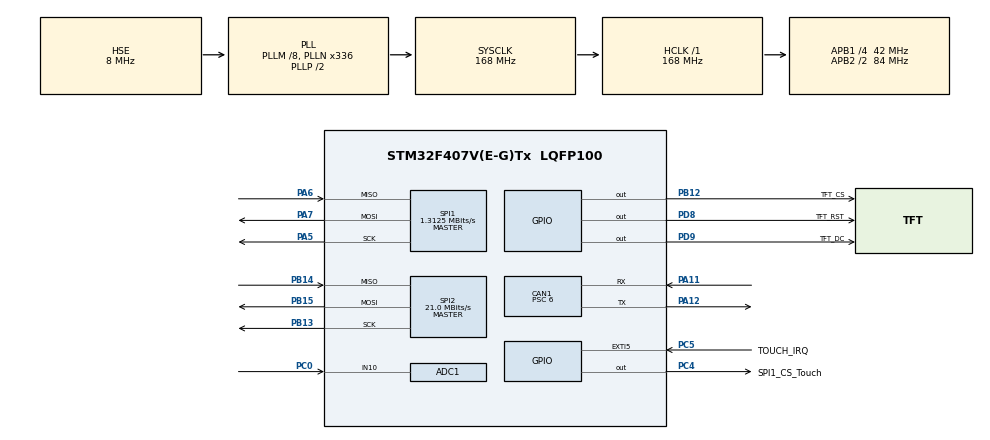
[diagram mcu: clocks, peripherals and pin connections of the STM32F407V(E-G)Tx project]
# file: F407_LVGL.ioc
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ADC1.Channel-0\#ChannelRegularConversion=ADC_CHANNEL_10
ADC1.NbrOfConversionFlag=1
ADC1.Rank-0\#ChannelRegularConversion=1
ADC1.SamplingTime-0\#ChannelRegularConversion=ADC_SAMPLETIME_84CYCLES
ADC1.master=1
CAN1.BS1=CAN_BS1_11TQ
CAN1.BS2=CAN_BS2_2TQ
CAN1.CalculateBaudRate=500000
CAN1.CalculateTimeBit=2000
CAN1.CalculateTimeQuantum=142.85714285714286
CAN1.Prescaler=6
Dma.Request0=SPI2_TX
Dma.SPI2_TX.0.Direction=DMA_MEMORY_TO_PERIPH
Dma.SPI2_TX.0.FIFOMode=DMA_FIFOMODE_DISABLE
Dma.SPI2_TX.0.Instance=DMA1_Stream4
Dma.SPI2_TX.0.MemDataAlignment=DMA_MDATAALIGN_HALFWORD
Dma.SPI2_TX.0.MemInc=DMA_MINC_ENABLE
Dma.SPI2_TX.0.Mode=DMA_NORMAL
Dma.SPI2_TX.0.PeriphDataAlignment=DMA_PDATAALIGN_HALFWORD
Dma.SPI2_TX.0.PeriphInc=DMA_PINC_DISABLE
Dma.SPI2_TX.0.Priority=DMA_PRIORITY_LOW
Mcu.Family=STM32F4
Mcu.Name=STM32F407V(E-G)Tx
Mcu.Package=LQFP100
NVIC.CAN1_RX0_IRQn=true\:0\:0\:false\:false\:true\:true\:true\:true
NVIC.CAN1_RX1_IRQn=true\:0\:0\:false\:false\:true\:true\:true\:true
NVIC.DMA1_Stream4_IRQn=true\:1\:0\:true\:false\:true\:false\:true\:true
NVIC.EXTI9_5_IRQn=true\:0\:0\:false\:false\:true\:true\:true\:true
NVIC.PriorityGroup=NVIC_PRIORITYGROUP_4
PA11.Mode=CAN_Activate
PA11.Signal=CAN1_RX
PA12.Mode=CAN_Activate
PA12.Signal=CAN1_TX
PA13.Mode=Serial_Wire
PA13.Signal=SYS_JTMS-SWDIO
PA14.Mode=Serial_Wire
PA14.Signal=SYS_JTCK-SWCLK
PA5.GPIO_Speed=GPIO_SPEED_FREQ_LOW
PA5.Mode=Full_Duplex_Master
PA5.Signal=SPI1_SCK
PA6.GPIO_Speed=GPIO_SPEED_FREQ_LOW
PA6.Mode=Full_Duplex_Master
PA6.Signal=SPI1_MISO
PA7.GPIO_Speed=GPIO_SPEED_FREQ_LOW
PA7.Mode=Full_Duplex_Master
PA7.Signal=SPI1_MOSI
PB12.GPIO_Label=TFT_CS
PB12.Signal=GPIO_Output
PB13.Mode=Full_Duplex_Master
PB13.Signal=SPI2_SCK
PB14.Mode=Full_Duplex_Master
PB14.Signal=SPI2_MISO
PB15.Mode=Full_Duplex_Master
PB15.Signal=SPI2_MOSI
PC0.Signal=ADCx_IN10
PC14-OSC32_IN.Mode=LSE-External-Oscillator
PC14-OSC32_IN.Signal=RCC_OSC32_IN
PC15-OSC32_OUT.Mode=LSE-External-Oscillator
PC15-OSC32_OUT.Signal=RCC_OSC32_OUT
PC4.GPIO_Label=SPI1_CS_Touch
PC4.PinState=GPIO_PIN_SET
PC4.Signal=GPIO_Output
PC5.GPIO_Label=TOUCH_IRQ
PC5.GPIO_ModeDefaultEXTI=GPIO_MODE_IT_FALLING
PC5.Signal=GPXTI5
PD8.GPIO_Label=TFT_RST
PD8.Signal=GPIO_Output
PD9.GPIO_Label=TFT_DC
PD9.Signal=GPIO_Output
PH0-OSC_IN.Mode=HSE-External-Oscillator
PH0-OSC_IN.Signal=RCC_OSC_IN
PH1-OSC_OUT.Mode=HSE-External-Oscillator
PH1-OSC_OUT.Signal=RCC_OSC_OUT
ProjectManager.HeapSize=0x200
ProjectManager.StackSize=0x400
ProjectManager.TargetToolchain=STM32CubeIDE
RCC.48MHZClocksFreq_Value=84000000
RCC.AHBFreq_Value=168000000
RCC.APB1CLKDivider=RCC_HCLK_DIV4
RCC.APB1Freq_Value=42000000
RCC.APB1TimFreq_Value=84000000
RCC.APB2CLKDivider=RCC_HCLK_DIV2
RCC.APB2Freq_Value=84000000
RCC.APB2TimFreq_Value=168000000
RCC.CortexFreq_Value=168000000
RCC.HCLKFreq_Value=168000000
RCC.HSE_VALUE=8000000
RCC.HSI_VALUE=16000000
RCC.PLLM=8
RCC.PLLN=336
RCC.PLLSourceVirtual=RCC_PLLSOURCE_HSE
RCC.SYSCLKFreq_VALUE=168000000
RCC.SYSCLKSource=RCC_SYSCLKSOURCE_PLLCLK
RCC.VCOOutputFreq_Value=336000000
SH.ADCx_IN10.0=ADC1_IN10,IN10
SPI1.BaudRatePrescaler=SPI_BAUDRATEPRESCALER_64
SPI1.CalculateBaudRate=1.3125 MBits/s
SPI1.Direction=SPI_DIRECTION_2LINES
SPI1.Mode=SPI_MODE_MASTER
SPI1.VirtualType=VM_MASTER
SPI2.CalculateBaudRate=21.0 MBits/s
SPI2.Direction=SPI_DIRECTION_2LINES
SPI2.Mode=SPI_MODE_MASTER
SPI2.VirtualType=VM_MASTER
board=custom

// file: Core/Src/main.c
/* USER CODE BEGIN Header */
/**
  ******************************************************************************
  * @file           : main.c
  * @brief          : Main program body
  ******************************************************************************
  * @attention
  *
  * Copyright (c) 2025 STMicroelectronics.
  * All rights reserved.
  *
  * This software is licensed under terms that can be found in the LICENSE file
  * in the root directory of this software component.
  * If no LICENSE file comes with this software, it is provided AS-IS.
  *
  ******************************************************************************
  */
/* USER CODE END Header */
#include "main.h"

/* USER CODE BEGIN Includes */
#include "../lvgl/lvgl.h"
#include "../lvgl/ui/ui.h"
#include "../XPT2064/XPT2064.h"
#include "../XPT2064/lv_drv.h"
#include "../ILI9341/core.h"
#include "../ILI9341/lv_driver.h"
#include <stdio.h>
/* USER CODE END Includes */

ADC_HandleTypeDef hadc1;

CAN_HandleTypeDef hcan1;

SPI_HandleTypeDef hspi1;
SPI_HandleTypeDef hspi2;
DMA_HandleTypeDef hdma_spi2_tx;

/* USER CODE BEGIN PV */
static void MX_NVIC_Init(void);
/* USER CODE END PV */

void SystemClock_Config(void);
static void MX_GPIO_Init(void);
static void MX_DMA_Init(void);
static void MX_SPI1_Init(void);
static void MX_SPI2_Init(void);
static void MX_ADC1_Init(void);
static void MX_CAN1_Init(void);
/* USER CODE BEGIN PFP */
CAN_FilterTypeDef sFilterConfig;
CAN_RxHeaderTypeDef RxHeader;
uint8_t RxData[8];

CAN_TxHeaderTypeDef   TxHeader;
uint8_t               TxData[8];
uint32_t              TxMailbox;
uint8_t counter;
static lv_disp_draw_buf_t disp_buf;

#define ILI_SCR_HORIZONTAL 320
#define ILI_SCR_VERTICAL   240
#define BUFFOR_SCR_ROWS 24

static lv_color_t buf_1[ILI_SCR_HORIZONTAL * BUFFOR_SCR_ROWS] ;
static lv_color_t buf_2[ILI_SCR_HORIZONTAL * BUFFOR_SCR_ROWS] ;
static lv_disp_drv_t disp_drv;

uint8_t battery_level;
uint8_t velocity=0;
uint32_t lastupdate = 0;
bool left_blink_active = false;
bool right_blink_active = false;

lv_color_t new_color;
lv_chart_series_t * ser1;

static void buttonAB_handler(lv_event_t * e)
 {
     lv_event_code_t code = lv_event_get_code(e);
     if (code == LV_EVENT_CLICKED) {
    	 memcpy(TxData, "RAB", 3);
    	 char buf[16]= "0    0-0    0";
    	 lv_label_set_text(objects.ab_status, buf);
    	 lv_obj_set_style_text_align(objects.ab_status, LV_TEXT_ALIGN_CENTER, LV_PART_MAIN);
    	 HAL_CAN_AddTxMessage(&hcan1, &TxHeader, TxData, &TxMailbox);
     }
}
static void buttonReturnHome_handler(lv_event_t * e)
{
     lv_event_code_t code = lv_event_get_code(e);
     if (code == LV_EVENT_CLICKED) {
    	 loadScreen(SCREEN_ID_MAIN);
     }
}
 static void gesture_event_handler(lv_event_t * e) {
	  lv_indev_wait_release(lv_indev_get_act());
	  lv_dir_t dir = lv_indev_get_gesture_dir(lv_indev_get_act());

      switch(dir) {
          case LV_DIR_BOTTOM: // Swipe down
        	  loadScreen(SCREEN_ID_STATS_SYSTEM);
              break;
          default:
              break;
      }
  }
static void update_display_task(void) {

	lv_color_t new_color = (velocity<120 ? lv_palette_main(LV_PALETTE_GREEN) :
	                		velocity<200 ? lv_palette_main(LV_PALETTE_YELLOW) :
	                						lv_palette_main(LV_PALETTE_RED));

	lv_obj_set_style_arc_color(objects.velocity_curve, new_color, LV_PART_INDICATOR);
	lv_arc_set_value(objects.velocity_curve, velocity);
	lv_obj_set_style_text_align(objects.velocity_digit, LV_TEXT_ALIGN_CENTER, LV_PART_MAIN);
	lv_obj_set_style_text_color(objects.velocity_digit,new_color , LV_PART_MAIN | LV_STATE_DEFAULT);
	lv_label_set_text_fmt(objects.velocity_digit, "%d", velocity);
  }

static void update_battery_arc(lv_timer_t * t) {
	HAL_ADC_Start(&hadc1);
	HAL_ADC_PollForConversion(&hadc1, 100);
	float volt = HAL_ADC_GetValue(&hadc1) * 3.3f/4095.0f * 4.24f;
	float pct  = (volt - 8.25f)/(12.6f - 8.25f) * 100.0f;
	battery_level = (uint8_t)pct;
	HAL_ADC_Stop(&hadc1);
	lv_arc_set_value(objects.fuel, 100- battery_level);
}

static void update_battery_chart(lv_timer_t * t) {
	HAL_ADC_Start(&hadc1);
	HAL_ADC_PollForConversion(&hadc1, 100);
	float volt = HAL_ADC_GetValue(&hadc1) * 3.3f/4095.0f * 4.24f;
	float pct  = (volt - 8.25f)/(12.6f - 8.25f) * 100.0f;
	battery_level = (uint8_t)pct;
	HAL_ADC_Stop(&hadc1);
    lv_chart_set_next_value(objects.battery_db, ser1, battery_level);
    lv_chart_refresh(objects.battery_db);

}
static void update_left_right_sign(lv_timer_t * t) {
	static bool blink_state = false;
	blink_state = !blink_state;

	if (left_blink_active) {
	    if (blink_state)
	        lv_obj_clear_flag(objects.left_sign, LV_OBJ_FLAG_HIDDEN);
	    else
	        lv_obj_add_flag(objects.left_sign, LV_OBJ_FLAG_HIDDEN);
	} else {
	    lv_obj_add_flag(objects.left_sign, LV_OBJ_FLAG_HIDDEN);
	}

	if (right_blink_active) {
	    if (blink_state)
	        lv_obj_clear_flag(objects.right_sign, LV_OBJ_FLAG_HIDDEN);
	    else
	        lv_obj_add_flag(objects.right_sign, LV_OBJ_FLAG_HIDDEN);
	} else {
	    lv_obj_add_flag(objects.right_sign, LV_OBJ_FLAG_HIDDEN);
	}
}
 // ---------------------------------
void HAL_CAN_RxFifo0MsgPendingCallback(CAN_HandleTypeDef *hcan)
{
	if(HAL_CAN_GetRxMessage(&hcan1, CAN_RX_FIFO0, &RxHeader, RxData)==HAL_OK){
		char buf_id[32];
		char buf_data[32];
		snprintf(buf_id, sizeof(buf_id), "Income ID: %02lX", RxHeader.StdId);
		snprintf(buf_data, sizeof(buf_data), "Data: %02X %02X %02X", RxData[2], RxData[1], RxData[0]);

		lv_label_set_text(objects.message_stat_1, buf_id);
		lv_label_set_text(objects.message_stat_2, buf_data);

		if(RxHeader.StdId == 0x00){
			uint8_t msg = RxData[0];
			uint8_t b2 = (msg >> 2) & 0x01;
			uint8_t b1 = (msg >> 1) & 0x01;
			uint8_t b0 = msg & 0x01;
			char buf[16];
			snprintf(buf, sizeof(buf), "%d    %d-%d    %d", b2, b1,b1, b0);
			lv_label_set_text(objects.ab_status, buf);
			lv_obj_set_style_text_align(objects.ab_status, LV_TEXT_ALIGN_CENTER, LV_PART_MAIN);

		}
		if(RxHeader.StdId == 0x01){
			velocity = RxData[0];
			char buf;
			switch (RxData[1]){
				case 1: buf = 'R'; break;
				case 2: buf = 'N'; break;
				case 3: buf = 'D'; break;
				default: buf = 'P'; break;
			}
			lv_label_set_text_fmt(objects.gear_status, "%c", buf);
			lv_label_set_text_fmt(objects.gear_lever, "%c", buf);
			lv_label_set_text_fmt(objects.velocity_stat_digit, "%d", velocity);
			update_display_task();
			if(RxData[2] == 1){
				lv_obj_clear_flag(objects.brake_sign, LV_OBJ_FLAG_HIDDEN);
				lv_label_set_text(objects.brake_digit, "Pressed");
			}else{
				lv_obj_add_flag(objects.brake_sign, LV_OBJ_FLAG_HIDDEN);
				lv_label_set_text(objects.brake_digit, "Released");
			}
			lv_arc_set_value(objects.rpm_curve, RxData[3]);
		}
		if(RxHeader.StdId == 0x02){
			uint8_t msg = RxData[0];

			// Extract individual bits
			uint8_t b6 = (msg >> 6) & 0x01;
			uint8_t b5 = (msg >> 5) & 0x01;
			uint8_t b4 = (msg >> 4) & 0x01;
			uint8_t b3 = (msg >> 3) & 0x01;
			uint8_t b2 = (msg >> 2) & 0x01;
			uint8_t b1 = (msg >> 1) & 0x01;
			uint8_t b0 = msg & 0x01;
			lv_label_set_text_fmt(objects.light_status, "%d%d%d%d%d%d%d",
									b6,b5,b4,b3,b2,b1,b0);
			// Headlight Modes (Auto, Low, High) — only one should show
			if (b0) {
			    lv_obj_clear_flag(objects.autolight, LV_OBJ_FLAG_HIDDEN);
			    lv_obj_add_flag(objects.highbeam, LV_OBJ_FLAG_HIDDEN);
			    lv_obj_add_flag(objects.lowbeam, LV_OBJ_FLAG_HIDDEN);
			} else if (b1) {
			    lv_obj_clear_flag(objects.lowbeam, LV_OBJ_FLAG_HIDDEN);
			    lv_obj_add_flag(objects.highbeam, LV_OBJ_FLAG_HIDDEN);
			    lv_obj_add_flag(objects.autolight, LV_OBJ_FLAG_HIDDEN);
			} else if (b2) {
			    lv_obj_clear_flag(objects.highbeam, LV_OBJ_FLAG_HIDDEN);
			    lv_obj_add_flag(objects.lowbeam, LV_OBJ_FLAG_HIDDEN);
			    lv_obj_add_flag(objects.autolight, LV_OBJ_FLAG_HIDDEN);
			} else {
			    // All off
			    lv_obj_add_flag(objects.autolight, LV_OBJ_FLAG_HIDDEN);
			    lv_obj_add_flag(objects.lowbeam, LV_OBJ_FLAG_HIDDEN);
			    lv_obj_add_flag(objects.highbeam, LV_OBJ_FLAG_HIDDEN);
			}

			// Position Light (b3)
			if (b3) {
			    lv_obj_clear_flag(objects.position_light, LV_OBJ_FLAG_HIDDEN);
			} else {
			    lv_obj_add_flag(objects.position_light, LV_OBJ_FLAG_HIDDEN);
			}

			// Left Turn Signal (b4) — toggle for blinking effect
			if (b4 == 1)
			    left_blink_active = true;
			else
			    left_blink_active = false;

			if (b5 == 1)
			    right_blink_active = true;
			else
			    right_blink_active = false;

			// Hazard Warning (b6)
			if (b6) {
			    lv_obj_clear_flag(objects.hazard_sign, LV_OBJ_FLAG_HIDDEN);
			} else {
			    lv_obj_add_flag(objects.hazard_sign, LV_OBJ_FLAG_HIDDEN);
			}
	}
}
}

/* USER CODE END PFP */

int main(void)
{

  /* MCU Configuration--------------------------------------------------------*/

  /* Reset of all peripherals, Initializes the Flash interface and the Systick. */
  HAL_Init();

  /* Configure the system clock */
  SystemClock_Config();

  /* Initialize all configured peripherals */
  MX_GPIO_Init();
  MX_DMA_Init();
  MX_SPI1_Init();
  MX_SPI2_Init();
  MX_ADC1_Init();
  MX_CAN1_Init();
  /* USER CODE BEGIN 2 */
  MX_NVIC_Init();
   /* USER CODE BEGIN 2 */
  HAL_CAN_Start(&hcan1);
  TxHeader.StdId = 0x03;
  TxHeader.RTR = CAN_RTR_DATA;
  TxHeader.IDE = CAN_ID_STD;
  TxHeader.DLC = 8;
  TxHeader.TransmitGlobalTime = DISABLE;

  sFilterConfig.FilterActivation = CAN_FILTER_ENABLE;
  sFilterConfig.FilterFIFOAssignment = CAN_FILTER_FIFO0;
  sFilterConfig.FilterScale = CAN_FILTERSCALE_16BIT;
  sFilterConfig.FilterMode = CAN_FILTERMODE_IDMASK;
  sFilterConfig.SlaveStartFilterBank = 14;
  sFilterConfig.FilterBank = 0;
  sFilterConfig.FilterIdHigh = 0;
  //   sFilterConfig.FilterIdLow = 0;
  sFilterConfig.FilterMaskIdHigh = 0x7FC << 5;
  //   sFilterConfig.FilterMaskIdLow = 0x0000;
  HAL_CAN_ConfigFilter(&hcan1, &sFilterConfig);
  HAL_CAN_ActivateNotification(&hcan1, CAN_IT_RX_FIFO0_MSG_PENDING); // Enable FIFO0 message pending interrupt

  ILI9341_Init();
  XPT2046_Init(&hspi1, EXTI9_5_IRQn);
  HAL_Delay(30);

  lv_init();
  lv_disp_draw_buf_init(&disp_buf, buf_1, buf_2, ILI_SCR_HORIZONTAL * BUFFOR_SCR_ROWS);
  lv_disp_drv_init(&disp_drv);              /*Basic initialization*/
  disp_drv.draw_buf = &disp_buf;            /*Set an initialized buffer*/
  disp_drv.flush_cb = ILI9341_flush;        /*Set a flush callback to draw to the display*/
  disp_drv.hor_res = ILI_SCR_HORIZONTAL;    /*Set the horizontal resolution in pixels*/
  disp_drv.ver_res = ILI_SCR_VERTICAL;      /*Set the vertical resolution in pixels*/
  lv_disp_drv_register(&disp_drv);          /*Register the driver and save the created display objects*/

  lv_indev_drv_t indev_drv;
  lv_indev_drv_init(&indev_drv);
  indev_drv.type =LV_INDEV_TYPE_POINTER;
  indev_drv.read_cb = lvXPT2064_Read;
  lv_indev_drv_register(&indev_drv);
  HAL_Delay(10);

  ui_init();
  lv_obj_set_width(objects.velocity_digit, 28);
  lv_chart_set_type(objects.battery_db, LV_CHART_TYPE_LINE);
  ser1 = lv_chart_add_series(objects.battery_db, lv_palette_main(LV_PALETTE_PURPLE), LV_CHART_AXIS_PRIMARY_Y);

//  lv_obj_add_event_cb(objects.button1, button1_handler, LV_EVENT_ALL, NULL);
//  lv_obj_add_event_cb(objects.button2, button2_handler, LV_EVENT_ALL, NULL);
  lv_obj_add_event_cb(objects.title_stat, buttonReturnHome_handler, LV_EVENT_ALL, NULL);
  lv_obj_add_event_cb(objects.rab_btn, buttonAB_handler, LV_EVENT_ALL, NULL);
  lv_obj_add_event_cb(objects.main, gesture_event_handler, LV_EVENT_GESTURE, NULL);
//
//  lv_label_set_recolor(objects.message_stat_1, true);
//  lv_label_set_recolor(objects.message_stat_2, true);

  lv_timer_create(update_battery_arc, 8000, NULL);
  lv_timer_create(update_battery_chart, 24000, NULL);
  lv_timer_create(update_left_right_sign, 500, NULL);
  lv_obj_add_flag(objects.brake_sign, LV_OBJ_FLAG_HIDDEN);
  lv_obj_add_flag(objects.position_light, LV_OBJ_FLAG_HIDDEN);
  lv_obj_add_flag(objects.autolight, LV_OBJ_FLAG_HIDDEN);
  lv_obj_add_flag(objects.lowbeam, LV_OBJ_FLAG_HIDDEN);
  lv_obj_add_flag(objects.highbeam, LV_OBJ_FLAG_HIDDEN);
  lv_obj_add_flag(objects.hazard_sign, LV_OBJ_FLAG_HIDDEN);

  uint32_t last = HAL_GetTick();
  /* USER CODE END 2 */

  /* Infinite loop */
  while (1)
  {

    /* USER CODE BEGIN 3 */
	 // lv_task_handler();
	  uint32_t now = HAL_GetTick();
	  if (now - last >= 20) {
	      lv_task_handler();  // every 20ms = 50FPS max
	      last = now;
	  }
	  lv_tick_inc(5);
	  XPT2046_Task();

  }
  /* USER CODE END 3 */
}

void SystemClock_Config(void)
{
  RCC_OscInitTypeDef RCC_OscInitStruct = {0};
  RCC_ClkInitTypeDef RCC_ClkInitStruct = {0};

  /** Configure the main internal regulator output voltage
  */
  __HAL_RCC_PWR_CLK_ENABLE();
  __HAL_PWR_VOLTAGESCALING_CONFIG(PWR_REGULATOR_VOLTAGE_SCALE1);

  /** Initializes the RCC Oscillators according to the specified parameters
  * in the RCC_OscInitTypeDef structure.
  */
  RCC_OscInitStruct.OscillatorType = RCC_OSCILLATORTYPE_HSE;
  RCC_OscInitStruct.HSEState = RCC_HSE_ON;
  RCC_OscInitStruct.PLL.PLLState = RCC_PLL_ON;
  RCC_OscInitStruct.PLL.PLLSource = RCC_PLLSOURCE_HSE;
  RCC_OscInitStruct.PLL.PLLM = 8;
  RCC_OscInitStruct.PLL.PLLN = 336;
  RCC_OscInitStruct.PLL.PLLP = RCC_PLLP_DIV2;
  RCC_OscInitStruct.PLL.PLLQ = 4;
  if (HAL_RCC_OscConfig(&RCC_OscInitStruct) != HAL_OK)
  {
    Error_Handler();
  }

  /** Initializes the CPU, AHB and APB buses clocks
  */
  RCC_ClkInitStruct.ClockType = RCC_CLOCKTYPE_HCLK|RCC_CLOCKTYPE_SYSCLK
                              |RCC_CLOCKTYPE_PCLK1|RCC_CLOCKTYPE_PCLK2;
  RCC_ClkInitStruct.SYSCLKSource = RCC_SYSCLKSOURCE_PLLCLK;
  RCC_ClkInitStruct.AHBCLKDivider = RCC_SYSCLK_DIV1;
  RCC_ClkInitStruct.APB1CLKDivider = RCC_HCLK_DIV4;
  RCC_ClkInitStruct.APB2CLKDivider = RCC_HCLK_DIV2;

  if (HAL_RCC_ClockConfig(&RCC_ClkInitStruct, FLASH_LATENCY_5) != HAL_OK)
  {
    Error_Handler();
  }
}

static void MX_ADC1_Init(void)
{

  ADC_ChannelConfTypeDef sConfig = {0};

  /** Configure the global features of the ADC (Clock, Resolution, Data Alignment and number of conversion)
  */
  hadc1.Instance = ADC1;
  hadc1.Init.ClockPrescaler = ADC_CLOCK_SYNC_PCLK_DIV4;
  hadc1.Init.Resolution = ADC_RESOLUTION_12B;
  hadc1.Init.ScanConvMode = DISABLE;
  hadc1.Init.ContinuousConvMode = DISABLE;
  hadc1.Init.DiscontinuousConvMode = DISABLE;
  hadc1.Init.ExternalTrigConvEdge = ADC_EXTERNALTRIGCONVEDGE_NONE;
  hadc1.Init.ExternalTrigConv = ADC_SOFTWARE_START;
  hadc1.Init.DataAlign = ADC_DATAALIGN_RIGHT;
  hadc1.Init.NbrOfConversion = 1;
  hadc1.Init.DMAContinuousRequests = DISABLE;
  hadc1.Init.EOCSelection = ADC_EOC_SINGLE_CONV;
  if (HAL_ADC_Init(&hadc1) != HAL_OK)
  {
    Error_Handler();
  }

  /** Configure for the selected ADC regular channel its corresponding rank in the sequencer and its sample time.
  */
  sConfig.Channel = ADC_CHANNEL_10;
  sConfig.Rank = 1;
  sConfig.SamplingTime = ADC_SAMPLETIME_84CYCLES;
  if (HAL_ADC_ConfigChannel(&hadc1, &sConfig) != HAL_OK)
  {
    Error_Handler();
  }

}

static void MX_CAN1_Init(void)
{

  hcan1.Instance = CAN1;
  hcan1.Init.Prescaler = 6;
  hcan1.Init.Mode = CAN_MODE_NORMAL;
  hcan1.Init.SyncJumpWidth = CAN_SJW_1TQ;
  hcan1.Init.TimeSeg1 = CAN_BS1_11TQ;
  hcan1.Init.TimeSeg2 = CAN_BS2_2TQ;
  hcan1.Init.TimeTriggeredMode = DISABLE;
  hcan1.Init.AutoBusOff = DISABLE;
  hcan1.Init.AutoWakeUp = DISABLE;
  hcan1.Init.AutoRetransmission = DISABLE;
  hcan1.Init.ReceiveFifoLocked = DISABLE;
  hcan1.Init.TransmitFifoPriority = DISABLE;
  if (HAL_CAN_Init(&hcan1) != HAL_OK)
  {
    Error_Handler();
  }

}

static void MX_SPI1_Init(void)
{

  /* SPI1 parameter configuration*/
  hspi1.Instance = SPI1;
  hspi1.Init.Mode = SPI_MODE_MASTER;
  hspi1.Init.Direction = SPI_DIRECTION_2LINES;
  hspi1.Init.DataSize = SPI_DATASIZE_8BIT;
  hspi1.Init.CLKPolarity = SPI_POLARITY_LOW;
  hspi1.Init.CLKPhase = SPI_PHASE_1EDGE;
  hspi1.Init.NSS = SPI_NSS_SOFT;
  hspi1.Init.BaudRatePrescaler = SPI_BAUDRATEPRESCALER_64;
  hspi1.Init.FirstBit = SPI_FIRSTBIT_MSB;
  hspi1.Init.TIMode = SPI_TIMODE_DISABLE;
  hspi1.Init.CRCCalculation = SPI_CRCCALCULATION_DISABLE;
  hspi1.Init.CRCPolynomial = 10;
  if (HAL_SPI_Init(&hspi1) != HAL_OK)
  {
    Error_Handler();
  }

}

static void MX_SPI2_Init(void)
{

  /* SPI2 parameter configuration*/
  hspi2.Instance = SPI2;
  hspi2.Init.Mode = SPI_MODE_MASTER;
  hspi2.Init.Direction = SPI_DIRECTION_2LINES;
  hspi2.Init.DataSize = SPI_DATASIZE_8BIT;
  hspi2.Init.CLKPolarity = SPI_POLARITY_LOW;
  hspi2.Init.CLKPhase = SPI_PHASE_1EDGE;
  hspi2.Init.NSS = SPI_NSS_SOFT;
  hspi2.Init.BaudRatePrescaler = SPI_BAUDRATEPRESCALER_2;
  hspi2.Init.FirstBit = SPI_FIRSTBIT_MSB;
  hspi2.Init.TIMode = SPI_TIMODE_DISABLE;
  hspi2.Init.CRCCalculation = SPI_CRCCALCULATION_DISABLE;
  hspi2.Init.CRCPolynomial = 10;
  if (HAL_SPI_Init(&hspi2) != HAL_OK)
  {
    Error_Handler();
  }

}

static void MX_DMA_Init(void)
{

  /* DMA controller clock enable */
  __HAL_RCC_DMA1_CLK_ENABLE();

  /* DMA interrupt init */
  /* DMA1_Stream4_IRQn interrupt configuration */
  HAL_NVIC_SetPriority(DMA1_Stream4_IRQn, 1, 0);
  HAL_NVIC_EnableIRQ(DMA1_Stream4_IRQn);

}

static void MX_GPIO_Init(void)
{
  GPIO_InitTypeDef GPIO_InitStruct = {0};

  /* GPIO Ports Clock Enable */
  __HAL_RCC_GPIOC_CLK_ENABLE();
  __HAL_RCC_GPIOH_CLK_ENABLE();
  __HAL_RCC_GPIOA_CLK_ENABLE();
  __HAL_RCC_GPIOB_CLK_ENABLE();
  __HAL_RCC_GPIOD_CLK_ENABLE();

  /*Configure GPIO pin Output Level */
  HAL_GPIO_WritePin(SPI1_CS_Touch_GPIO_Port, SPI1_CS_Touch_Pin, GPIO_PIN_SET);

  /*Configure GPIO pin Output Level */
  HAL_GPIO_WritePin(TFT_CS_GPIO_Port, TFT_CS_Pin, GPIO_PIN_RESET);

  /*Configure GPIO pin Output Level */
  HAL_GPIO_WritePin(GPIOD, TFT_RST_Pin|TFT_DC_Pin, GPIO_PIN_RESET);

  /*Configure GPIO pin : SPI1_CS_Touch_Pin */
  GPIO_InitStruct.Pin = SPI1_CS_Touch_Pin;
  GPIO_InitStruct.Mode = GPIO_MODE_OUTPUT_PP;
  GPIO_InitStruct.Pull = GPIO_NOPULL;
  GPIO_InitStruct.Speed = GPIO_SPEED_FREQ_LOW;
  HAL_GPIO_Init(SPI1_CS_Touch_GPIO_Port, &GPIO_InitStruct);

  /*Configure GPIO pin : TOUCH_IRQ_Pin */
  GPIO_InitStruct.Pin = TOUCH_IRQ_Pin;
  GPIO_InitStruct.Mode = GPIO_MODE_IT_FALLING;
  GPIO_InitStruct.Pull = GPIO_NOPULL;
  HAL_GPIO_Init(TOUCH_IRQ_GPIO_Port, &GPIO_InitStruct);

  /*Configure GPIO pin : TFT_CS_Pin */
  GPIO_InitStruct.Pin = TFT_CS_Pin;
  GPIO_InitStruct.Mode = GPIO_MODE_OUTPUT_PP;
  GPIO_InitStruct.Pull = GPIO_NOPULL;
  GPIO_InitStruct.Speed = GPIO_SPEED_FREQ_LOW;
  HAL_GPIO_Init(TFT_CS_GPIO_Port, &GPIO_InitStruct);

  /*Configure GPIO pins : TFT_RST_Pin TFT_DC_Pin */
  GPIO_InitStruct.Pin = TFT_RST_Pin|TFT_DC_Pin;
  GPIO_InitStruct.Mode = GPIO_MODE_OUTPUT_PP;
  GPIO_InitStruct.Pull = GPIO_NOPULL;
  GPIO_InitStruct.Speed = GPIO_SPEED_FREQ_LOW;
  HAL_GPIO_Init(GPIOD, &GPIO_InitStruct);

  /* EXTI interrupt init*/
  HAL_NVIC_SetPriority(EXTI9_5_IRQn, 0, 0);
  HAL_NVIC_EnableIRQ(EXTI9_5_IRQn);

}

/* USER CODE BEGIN 4 */

/**
  * @brief NVIC Configuration.
  * @retval None
  */
static void MX_NVIC_Init(void)
{
  /* EXTI9_5_IRQn interrupt configuration */
  HAL_NVIC_SetPriority(EXTI9_5_IRQn, 0, 0);
  HAL_NVIC_EnableIRQ(EXTI9_5_IRQn);
  /* DMA1_Stream4_IRQn interrupt configuration */
  NVIC_SetPriority(DMA1_Stream4_IRQn, NVIC_EncodePriority(NVIC_GetPriorityGrouping(),0, 0));
  NVIC_EnableIRQ(DMA1_Stream4_IRQn);
}

/* USER CODE BEGIN 4 */
void HAL_GPIO_EXTI_Callback(uint16_t GPIO_Pin)
{
	if(GPIO_Pin == TOUCH_IRQ_Pin)
	{
		XPT2046_IRQ();
	}
}
/* USER CODE END 4 */

void Error_Handler(void)
{
  __disable_irq();
  while (1)
  {
  }
}
